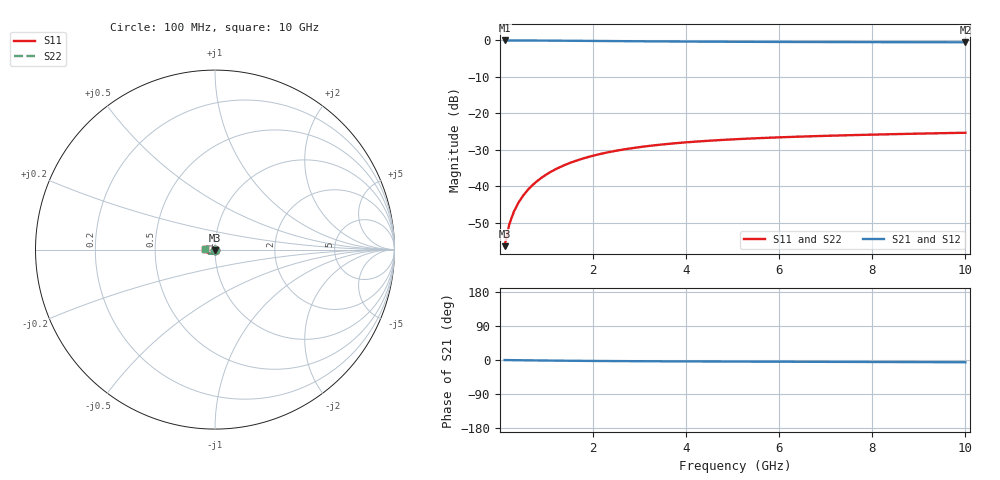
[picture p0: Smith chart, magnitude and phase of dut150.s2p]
! Touchstone file exported from HFSS 2024.1.0
!  File:  C:/UserFiles/LocalFiles/RDL_TSV_Batchsim/temp_TSV1_150_1778754938.aedt
!  Generated:  06:42:59 PM May 14, 2026
!  Design:  TSV1
!  Project:  temp_TSV1_150_1778754938
!  Setup:  Setup1
!  Solution:  Sweep
! Variables:
!  dtsv = 10.92um
!  hbump = 3um
!  htsv = 93.66um
!  lrdl = 252.1521522um
!  p = 40
!  p1 = 55.09um
!  t = 500um
!  trdl = 3um
!  wrdl = 24.89489489um
# GHz S MA R 50.000000
! Terminal data exported
! Port[1] = TSV22_T1
! Port[2] = TSV22_T2
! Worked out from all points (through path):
!   100 points, 100 MHz to 10 GHz, reference 50 ohm
!   highest |S21| = 0.00 dB at 100 MHz (marker M1); lowest = -0.5 dB at 10 GHz (marker M2)
!   lowest |S11| = -56.4 dB at 100 MHz (marker M3), VSWR 1.00, Z = 50 - j0.151 ohm
!   |S11| at or under -10 dB: start of sweep to end of sweep
!   |S22| runs from -56.4 to -25.3 dB; largest |S21 - S12| = 5.3e-15
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0.1  0.001508 -86.8  0.9998 -0.2  0.9998 -0.2  0.001508 -86.8
! Gamma 0 0 0 0
! Port Impedance 50 0 50 0
0.2  0.003006 -91.1  0.9996 -0.3  0.9996 -0.3  0.003006 -91.1
0.3  0.004503 -93.8  0.9994 -0.4  0.9994 -0.4  0.004503 -93.8
0.4  0.005993 -96.1  0.999 -0.6  0.999 -0.6  0.005993 -96.1
0.5  0.007471 -98.3  0.9986 -0.7  0.9986 -0.7  0.007471 -98.3
0.6  0.008933 -100.3  0.998 -0.9  0.998 -0.9  0.008933 -100.3
0.7  0.01037 -102.3  0.9974 -1.0  0.9974 -1.0  0.01037 -102.3
0.8  0.01179 -104.3  0.9967 -1.2  0.9967 -1.2  0.01179 -104.3
0.9  0.01318 -106.2  0.9959 -1.3  0.9959 -1.3  0.01318 -106.2
1.1  0.01587 -109.9  0.9942 -1.5  0.9942 -1.5  0.01587 -109.9
1.4  0.01965 -115.2  0.9913 -1.9  0.9913 -1.9  0.01965 -115.2
1.6  0.02199 -118.5  0.9892 -2.1  0.9892 -2.1  0.02199 -118.5
1.8  0.02418 -121.7  0.987 -2.3  0.987 -2.3  0.02418 -121.7
2.1  0.0272 -126.3  0.9837 -2.6  0.9837 -2.6  0.0272 -126.3
2.5  0.03072 -131.9  0.9794 -2.9  0.9794 -2.9  0.03072 -131.9
2.9  0.03375 -137.0  0.9752 -3.1  0.9752 -3.1  0.03375 -137.0
3.4  0.03692 -142.7  0.9706 -3.4  0.9706 -3.4  0.03692 -142.7
4.2  0.04092 -150.6  0.9642 -3.8  0.9642 -3.8  0.04092 -150.6
5.1  0.04429 -158.0  0.9586 -4.2  0.9586 -4.2  0.04428 -158.0
6.7  0.04852 -168.8  0.9516 -4.8  0.9516 -4.8  0.04852 -168.8
8.4  0.05174 -177.9  0.9468 -5.4  0.9468 -5.4  0.05174 -177.9
10  0.05421 174.9  0.9437 -6.0  0.9437 -6.0  0.05421 174.9
